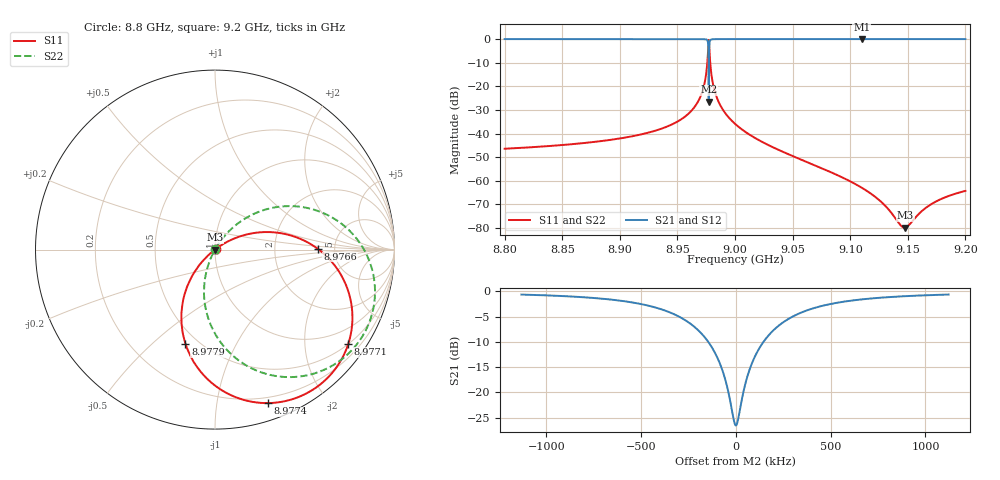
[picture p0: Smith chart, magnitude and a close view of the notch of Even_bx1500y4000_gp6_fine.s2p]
! Sonnet Data File
! From: emgraph Version : 16.52
! From Emgraph Data: Resonator3
! Data File Written: 10/04/2017 13:30:13
!< HDATE 10/04/2017 12:29:46
!< MDATE 10/04/2017 12:29:46
# GHZ S MA R 51.80000
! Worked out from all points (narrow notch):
!   801 points, 8.8 GHz to 9.2 GHz, reference 51.8 ohm
!   highest |S21| = 0.00 dB at 9.11 GHz (marker M1); lowest = -26.5 dB at 8.9772 GHz (marker M2)
!   notch at M2: 26.5 dB deep, 191 kHz wide at half that depth
!   lowest |S11| = -79.9 dB at 9.148 GHz (marker M3), VSWR 1.00, Z = 51.8 + j0.00908 ohm
!   |S11| at or under -10 dB: start of sweep to 8.976 GHz; 8.9785 GHz to end of sweep
!   |S22| runs from -80.1 to -0.4 dB; largest |S21 - S12| = 0
!   S11 on the Smith chart (normalised r, x): 8.8 GHz: 1.01, +0.01; 8.9766 GHz: 3.67, +0.06; 8.9771 GHz: 0.51, -3.07; 8.9774 GHz: 0.15, -1.39; 8.9779 GHz: 0.43, -0.64; 9.2 GHz: 1.00, +0.00
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8.8  0.004753 39.3  1 -40.5  1 -40.5  0.004754 59.8
!< P1 F=8.8 Eeff=(6.44889005 -2.9739e-5) Z0=(51.8067783 1.19496e-4) R=0.0 C=0.0
!< P2 F=8.8 Eeff=(6.44889005 -2.9739e-5) Z0=(51.8067781 1.19496e-4) R=0.0 C=0.0
8.868  0.006248 38.5  1 -40.9  1 -40.9  0.006249 59.7
8.933993  0.01214 37.3  0.9999 -41.5  0.9999 -41.5  0.01214 59.5
8.965984  0.03976 35.2  0.9991 -43.3  0.9991 -43.3  0.03976 58.1
8.97338  0.1108 30.7  0.9932 -47.4  0.9932 -47.4  0.1108 53.9
8.975654  0.2588 21.6  0.9625 -56.0  0.9625 -56.0  0.2588 44.8
8.976641  0.5715 0.5  0.8008 -75.9  0.8008 -75.9  0.5715 23.7
8.977093  0.9095 -35.2  0.3024 -105.1  0.3024 -105.1  0.9095 -12.0
8.977164  0.942 -43.9  0.1595 -105.4  0.1595 -105.4  0.942 -20.6
8.977232  0.9529 -52.7  0.04705 -40.2  0.04705 -40.2  0.953 -29.5
8.977301  0.9412 -61.6  0.1625 23.4  0.1625 23.4  0.9413 -38.4
8.977377  0.9048 -70.9  0.3167 22.6  0.3167 22.6  0.9048 -47.7
8.977854  0.5498 -107.4  0.8171 -7.7  0.8171 -7.7  0.5498 -84.2
8.979356  0.1916 -131.1  0.9796 -30.0  0.9796 -30.0  0.1916 -107.8
8.98403  0.05932 -139.2  0.998 -37.7  0.998 -37.7  0.05932 -115.8
9  0.01604 -142.2  0.9999 -40.2  0.9999 -40.2  0.01604 -118.2
9.068  0.002184 -145.6  1 -41.3  1 -41.3  0.002183 -117.0
9.11  0.0007113 -151.5  1 -41.6  1 -41.6  0.0007104 -111.9
9.134  0.0002352 -168.8  1 -41.8  1 -41.8  0.0002337 -95.1
9.148  0.0001013 120.1  1 -41.8  1 -41.8  9.896e-05 -23.2
9.174  0.000358 52.6  1 -42.0  1 -42.0  0.0003579 43.9
9.2  0.0006083 45.6  1 -42.1  1 -42.1  0.0006085 50.4
